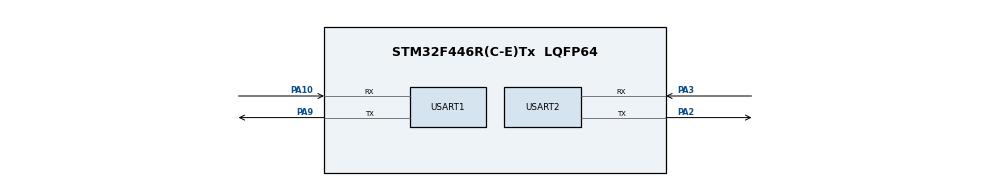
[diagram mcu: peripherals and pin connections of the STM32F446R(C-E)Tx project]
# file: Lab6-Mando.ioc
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Mcu.Family=STM32F4
Mcu.Name=STM32F446R(C-E)Tx
Mcu.Package=LQFP64
NVIC.PriorityGroup=NVIC_PRIORITYGROUP_4
NVIC.USART1_IRQn=true\:0\:0\:false\:false\:true\:true\:true\:true
NVIC.USART2_IRQn=true\:0\:0\:false\:false\:true\:true\:true\:true
PA10.Mode=Asynchronous
PA10.Signal=USART1_RX
PA13.Mode=Serial_Wire
PA13.Signal=SYS_JTMS-SWDIO
PA14.Mode=Serial_Wire
PA14.Signal=SYS_JTCK-SWCLK
PA2.Mode=Asynchronous
PA2.Signal=USART2_TX
PA3.Mode=Asynchronous
PA3.Signal=USART2_RX
PA9.Mode=Asynchronous
PA9.Signal=USART1_TX
ProjectManager.HeapSize=0x200
ProjectManager.StackSize=0x400
ProjectManager.TargetToolchain=STM32CubeIDE
RCC.CortexFreq_Value=16000000
RCC.USBFreq_Value=96000000
RCC.VCOOutputFreq_Value=192000000
USART1.VirtualMode=VM_ASYNC
USART2.VirtualMode=VM_ASYNC
board=custom

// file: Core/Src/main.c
/* USER CODE BEGIN Header */
/**
  ******************************************************************************
  * @file           : main.c
  * @brief          : Main program body
  ******************************************************************************
  * @attention
  *
  * Copyright (c) 2024 STMicroelectronics.
  * All rights reserved.
  *
  * This software is licensed under terms that can be found in the LICENSE file
  * in the root directory of this software component.
  * If no LICENSE file comes with this software, it is provided AS-IS.
  *
  ******************************************************************************
  */
/* USER CODE END Header */
#include "main.h"

UART_HandleTypeDef huart1;
UART_HandleTypeDef huart2;
uint8_t buffer[10];
uint8_t U[] = "UP\r\n";
uint8_t D[] = "DOWN\r\n";
uint8_t L[] = "LEFT\r\n";
uint8_t R[] = "RIGHT\r\n";
uint8_t A[] = "A\r\n";
uint8_t B[] = "B\r\n";

void SystemClock_Config(void);
static void MX_GPIO_Init(void);
static void MX_USART1_UART_Init(void);
static void MX_USART2_UART_Init(void);

int main(void)
{

  /* MCU Configuration--------------------------------------------------------*/

  /* Reset of all peripherals, Initializes the Flash interface and the Systick. */
  HAL_Init();

  /* Configure the system clock */
  SystemClock_Config();

  /* Initialize all configured peripherals */
  MX_GPIO_Init();
  MX_USART1_UART_Init();
  MX_USART2_UART_Init();

  /* USER CODE BEGIN 2 */
  HAL_UART_Receive_IT(&huart1, buffer, 1);
  HAL_UART_Transmit(&huart2, (uint8_t*)"Test UART2\r\n", 12, 1000);
  /* USER CODE END 2 */
  //HAL_UART_Transmit(&huart2, Test, sizeof(Test), 1);
  //HAL_UART_Receive_IT(&huart2, buffer, 1);
  /* Infinite loop */
  /* USER CODE BEGIN WHILE */
  while (1)
  {
	  	  if (buffer[0] == 'U') {
	          HAL_UART_Transmit(&huart2, U, sizeof(U), 1000);
	      } else if (buffer[0] == 'D') {
	          HAL_UART_Transmit(&huart2, D, sizeof(D), 1000);
	      } else if (buffer[0] == 'L') {
	          HAL_UART_Transmit(&huart2, L, sizeof(L), 1000);
	      } else if (buffer[0] == 'R') {
	          HAL_UART_Transmit(&huart2, R, sizeof(R), 1000);
	      } else if (buffer[0] == 'A') {
	          HAL_UART_Transmit(&huart2, A, sizeof(A), 1000);
	      } else if (buffer[0] == 'B') {
	          HAL_UART_Transmit(&huart2, B, sizeof(B), 1000);
	      }

	      // Vuelve a recibir el siguiente byte
	      buffer[0] = '1';
    /* USER CODE END WHILE */

  }
}

void SystemClock_Config(void)
{
  RCC_OscInitTypeDef RCC_OscInitStruct = {0};
  RCC_ClkInitTypeDef RCC_ClkInitStruct = {0};

  /** Configure the main internal regulator output voltage
  */
  __HAL_RCC_PWR_CLK_ENABLE();
  __HAL_PWR_VOLTAGESCALING_CONFIG(PWR_REGULATOR_VOLTAGE_SCALE3);

  /** Initializes the RCC Oscillators according to the specified parameters
  * in the RCC_OscInitTypeDef structure.
  */
  RCC_OscInitStruct.OscillatorType = RCC_OSCILLATORTYPE_HSI;
  RCC_OscInitStruct.HSIState = RCC_HSI_ON;
  RCC_OscInitStruct.HSICalibrationValue = RCC_HSICALIBRATION_DEFAULT;
  RCC_OscInitStruct.PLL.PLLState = RCC_PLL_NONE;
  if (HAL_RCC_OscConfig(&RCC_OscInitStruct) != HAL_OK)
  {
    Error_Handler();
  }

  /** Initializes the CPU, AHB and APB buses clocks
  */
  RCC_ClkInitStruct.ClockType = RCC_CLOCKTYPE_HCLK|RCC_CLOCKTYPE_SYSCLK
                              |RCC_CLOCKTYPE_PCLK1|RCC_CLOCKTYPE_PCLK2;
  RCC_ClkInitStruct.SYSCLKSource = RCC_SYSCLKSOURCE_HSI;
  RCC_ClkInitStruct.AHBCLKDivider = RCC_SYSCLK_DIV1;
  RCC_ClkInitStruct.APB1CLKDivider = RCC_HCLK_DIV1;
  RCC_ClkInitStruct.APB2CLKDivider = RCC_HCLK_DIV1;

  if (HAL_RCC_ClockConfig(&RCC_ClkInitStruct, FLASH_LATENCY_0) != HAL_OK)
  {
    Error_Handler();
  }
}

static void MX_USART1_UART_Init(void)
{

  huart1.Instance = USART1;
  huart1.Init.BaudRate = 9600;
  huart1.Init.WordLength = UART_WORDLENGTH_8B;
  huart1.Init.StopBits = UART_STOPBITS_1;
  huart1.Init.Parity = UART_PARITY_NONE;
  huart1.Init.Mode = UART_MODE_TX_RX;
  huart1.Init.HwFlowCtl = UART_HWCONTROL_NONE;
  huart1.Init.OverSampling = UART_OVERSAMPLING_16;
  if (HAL_UART_Init(&huart1) != HAL_OK)
  {
    Error_Handler();
  }

}

static void MX_USART2_UART_Init(void)
{

  huart2.Instance = USART2;
  huart2.Init.BaudRate = 115200;
  huart2.Init.WordLength = UART_WORDLENGTH_8B;
  huart2.Init.StopBits = UART_STOPBITS_1;
  huart2.Init.Parity = UART_PARITY_NONE;
  huart2.Init.Mode = UART_MODE_TX_RX;
  huart2.Init.HwFlowCtl = UART_HWCONTROL_NONE;
  huart2.Init.OverSampling = UART_OVERSAMPLING_16;
  if (HAL_UART_Init(&huart2) != HAL_OK)
  {
    Error_Handler();
  }

}

static void MX_GPIO_Init(void)
{

  /* GPIO Ports Clock Enable */
  __HAL_RCC_GPIOA_CLK_ENABLE();

}

/* USER CODE BEGIN 4 */
void HAL_UART_RxCpltCallback(UART_HandleTypeDef *huart)
{
    if(huart->Instance == USART1){
    	HAL_UART_Receive_IT(&huart1, buffer, 1);
    }
}

/* USER CODE END 4 */

void Error_Handler(void)
{
  __disable_irq();
  while (1)
  {
  }
}
